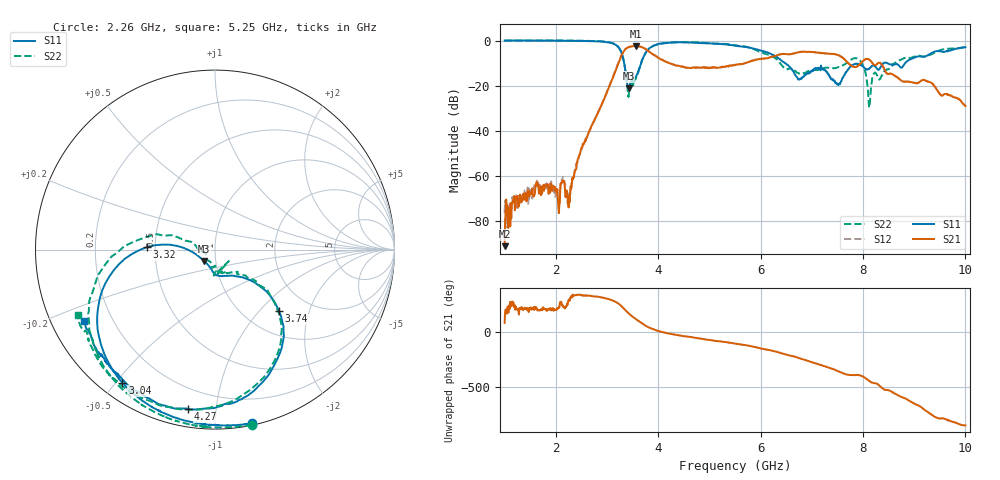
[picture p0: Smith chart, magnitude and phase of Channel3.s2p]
!Agilent Technologies,N5227A,US51270477,A.10.00.00
!File generated by LCAF-GAM-UPV software
!josevmart@iteam.upv.es
!S2P File: Measurements: S11, S21, S12, S22:
# Hz S  dB  R 50
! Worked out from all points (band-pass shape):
!   901 points, 1 GHz to 10 GHz, reference 50 ohm
!   highest |S21| = -2.47 dB at 3.57 GHz (marker M1); lowest = -91.3 dB at 1 GHz (marker M2)
!   |S21| within 3 dB of the highest: 3.31 GHz to 3.853 GHz (543 MHz wide, 15.2 % of centre); 6.696 GHz to 7.145 GHz (449 MHz wide, 6.49 % of centre)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
!   lowest |S11| = -21.1 dB at 3.42 GHz (marker M3), VSWR 1.19, Z = 44 - j5.67 ohm
!   |S11| at or under -10 dB: 3.335 GHz to 3.666 GHz (331.8 MHz wide, 9.48 % of centre); 6.477 GHz to 8.408 GHz (1.931 GHz wide, 25.9 % of centre); 8.468 GHz to 8.824 GHz (355.8 MHz wide, 4.11 % of centre)
!   |S22| runs from -29.8 to 0.0 dB; largest |S21 - S12| = 0.1
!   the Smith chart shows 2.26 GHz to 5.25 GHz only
!   S11 on the Smith chart (normalised r, x): 2.26 GHz: 0.02, -1.24; 3.04 GHz: 0.06, -0.52; 3.32 GHz: 0.45, +0.01; 3.74 GHz: 1.42, -1.29; 4.27 GHz: 0.09, -0.84; 5.25 GHz: 0.10, -0.25
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1e9  -0.01 -33.0  -91.33 87.7  -76.50 -127.6  0.02 -33.2
1.64e9  -0.02 -54.2  -63.06 -156.9  -63.91 -145.5  0.02 -55.5
2.26e9  -0.10 -77.8  -68.95 -55.8  -70.20 -57.9  -0.02 -78.0
2.5e9  -0.19 -89.4  -47.69 -15.8  -48.21 -16.1  -0.07 -88.8
3.04e9  -0.87 -124.8  -20.79 -53.9  -20.18 -57.2  -0.79 -130.3
3.32e9  -8.41 178.0  -5.04 -135.2  -4.96 -138.0  -8.31 169.3
3.42e9  -21.13 -133.2  -2.97 177.2  -2.94 174.5  -25.06 -149.2
3.57e9  -15.79 -64.1  -2.47 121.0  -2.48 120.7  -16.64 -63.9
3.74e9  -6.09 -43.9  -3.59 66.6  -3.63 65.7  -6.03 -44.6
4e9  -1.56 -77.9  -7.62 13.7  -7.58 14.0  -1.67 -79.4
4.27e9  -0.91 -99.5  -10.45 -15.6  -10.47 -15.5  -0.85 -101.1
5.25e9  -1.64 -151.5  -11.57 -85.5  -11.92 -83.7  -1.45 -154.6
5.5e9  -2.30 -163.5  -10.93 -102.2  -10.82 -103.2  -2.11 -169.0
6.41e9  -8.95 142.8  -6.07 168.1  -6.03 166.4  -10.90 134.7
7e9  -13.66 175.8  -5.11 85.4  -5.08 86.0  -13.13 165.5
7.52e9  -19.80 163.3  -6.54 1.1  -6.52 2.3  -11.75 151.6
7.89e9  -10.25 136.6  -11.43 -31.8  -11.41 -32.1  -8.03 94.2
8.13e9  -12.27 110.0  -8.66 -88.5  -8.71 -88.5  -28.84 99.2
8.22e9  -11.11 91.7  -10.90 -107.2  -10.99 -106.7  -14.45 103.3
8.5e9  -10.36 55.9  -14.83 -172.1  -14.88 -171.0  -12.74 86.7
9.5e9  -4.72 -21.3  -23.75 -72.4  -23.75 -72.5  -4.31 -14.5
1e10  -2.98 -51.7  -29.04 -136.6  -29.06 -136.1  -2.86 -60.4
